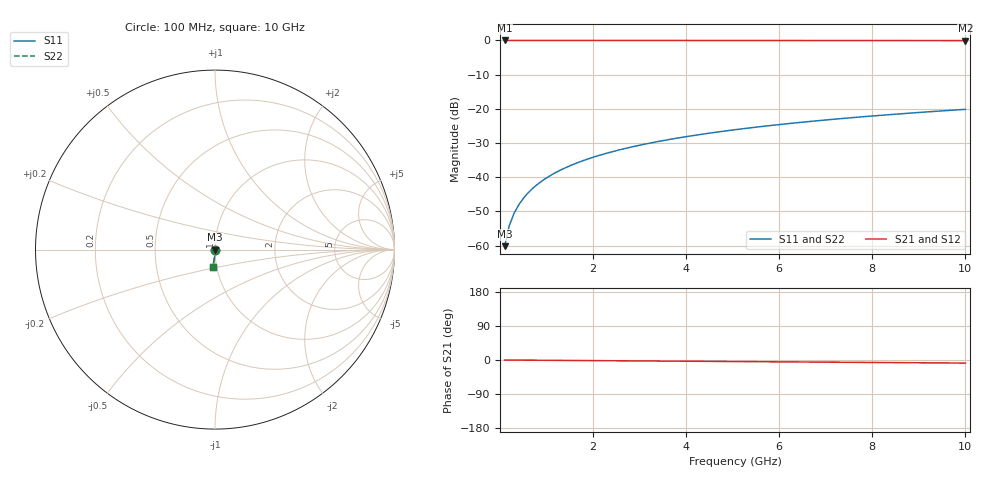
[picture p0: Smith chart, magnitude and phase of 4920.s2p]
# Hz S RI R 50.00
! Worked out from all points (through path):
!   100 points, 100 MHz to 10 GHz, reference 50 ohm
!   highest |S21| = 0.00 dB at 100 MHz (marker M1); lowest = 0.0 dB at 10 GHz (marker M2)
!   group delay of S21, straight-line fit = 2.26 ps
!   lowest |S11| = -60.2 dB at 100 MHz (marker M3), VSWR 1.00, Z = 50 - j0.0975 ohm
!   |S11| at or under -10 dB: start of sweep to end of sweep
!   |S22| runs from -60.2 to -20.2 dB; largest |S21 - S12| = 0
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1e8  7.86e-05 -0.000975  0.9999 -0.0014  0.9999 -0.0014  7.86e-05 -0.000975
2e8  7.39e-05 -0.00195  0.9999 -0.00281  0.9999 -0.00281  7.39e-05 -0.00195
3e8  6.63e-05 -0.00292  0.9999 -0.00421  0.9999 -0.00421  6.63e-05 -0.00292
4e8  5.59e-05 -0.0039  0.9999 -0.00562  0.9999 -0.00562  5.59e-05 -0.0039
5e8  4.27e-05 -0.00487  0.9999 -0.00702  0.9999 -0.00702  4.27e-05 -0.00487
6e8  2.67e-05 -0.00585  0.9999 -0.00843  0.9999 -0.00843  2.67e-05 -0.00585
7e8  8.02e-06 -0.00682  0.9998 -0.00983  0.9998 -0.00983  8.02e-06 -0.00682
8e8  -1.35e-05 -0.0078  0.9998 -0.0112  0.9998 -0.0112  -1.35e-05 -0.0078
9e8  -3.77e-05 -0.00877  0.9998 -0.0126  0.9998 -0.0126  -3.77e-05 -0.00877
1.1e9  -9.45e-05 -0.0107  0.9997 -0.0155  0.9997 -0.0155  -9.45e-05 -0.0107
1.4e9  -0.0002 -0.0137  0.9996 -0.0197  0.9996 -0.0197  -0.0002 -0.0137
1.8e9  -0.00038 -0.0176  0.9994 -0.0253  0.9994 -0.0253  -0.00038 -0.0176
2.1e9  -0.000544 -0.0205  0.9992 -0.0295  0.9992 -0.0295  -0.000544 -0.0205
2.5e9  -0.000801 -0.0244  0.999 -0.0351  0.999 -0.0351  -0.000801 -0.0244
2.9e9  -0.0011 -0.0283  0.9986 -0.0408  0.9986 -0.0408  -0.0011 -0.0283
3.4e9  -0.00154 -0.0332  0.9982 -0.0478  0.9982 -0.0478  -0.00154 -0.0332
4.2e9  -0.00239 -0.041  0.9973 -0.0591  0.9973 -0.0591  -0.00239 -0.041
5.1e9  -0.00356 -0.0498  0.996 -0.0718  0.996 -0.0718  -0.00356 -0.0498
5.9e9  -0.00479 -0.0576  0.9947 -0.0831  0.9947 -0.0831  -0.00479 -0.0576
6.7e9  -0.0062 -0.0654  0.9932 -0.0943  0.9932 -0.0943  -0.0062 -0.0654
8.4e9  -0.00978 -0.0818  0.9894 -0.1182  0.9894 -0.1182  -0.00978 -0.0818
1e10  -0.0139 -0.0971  0.985 -0.1406  0.985 -0.1406  -0.0139 -0.0971
